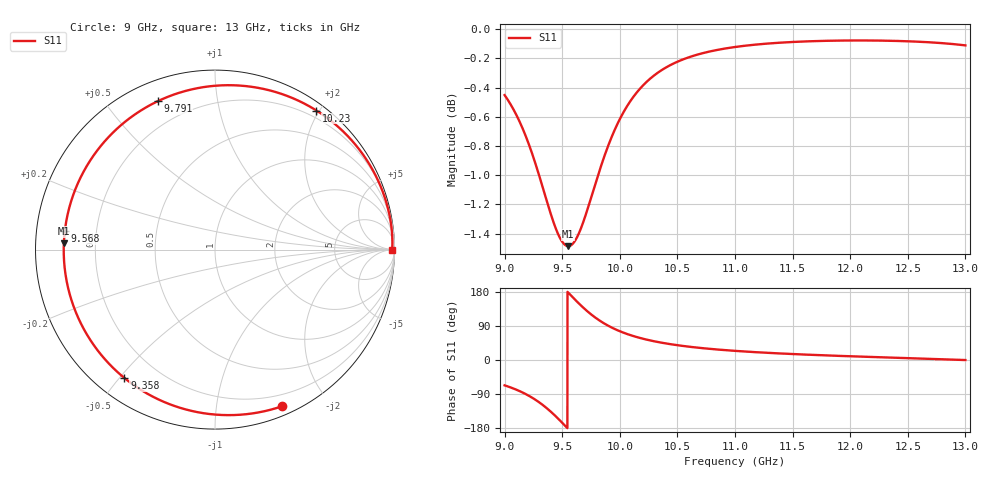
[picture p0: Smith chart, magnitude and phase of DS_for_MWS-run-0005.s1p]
! TOUCHSTONE file generated by CST DESIGN STUDIO
! Date and time: Wed Feb  5 13:34:24 2025
! Project name: C:\Work\MatlabApps\UnitCellOptimizationMatlab\CST\unitcell.cst
! Tree item: Tasks\Sweep1\SPara1\S-Parameters
! Header version: 2024
! Port assignment regex: !\s*Touchstone port\s*([0-9]+)\s*=\s*(CST MWS port|CST DES external port|CST DES block port)\s*(.+)\s* \(\"(.*)\"\)(\s*mode\s*([0-9]+))?.*
! Touchstone port assignment:
! Touchstone port 1 = CST DES external port 1 ("")
# GHz S MA R 50
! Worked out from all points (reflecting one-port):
!   4001 points, 9 GHz to 13 GHz, reference 50 ohm
!   lowest |S11| = -1.5 dB at 9.553 GHz (marker M1), VSWR 11.73, Z = 4.27 + j1.03 ohm
!   phase of S11 starts at -67 deg and turns -293 deg over the sweep
!   S11 on the Smith chart (normalised r, x): 9 GHz: 0.09, -1.51; 9.358 GHz: 0.08, -0.52; 9.568 GHz: 0.09, +0.06; 9.791 GHz: 0.09, +0.68; 10.23 GHz: 0.10, +1.96; 13 GHz: open
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9  0.9493 -66.9
9.037  0.9445 -70.7
9.102  0.9346 -78.3
9.212  0.9129 -94.7
9.289  0.8939 -109.3
9.358  0.8755 -125.2
9.426  0.8586 -143.4
9.464  0.851 -154.5
9.5  0.8458 -165.6
9.553  0.8428 177.6
9.568  0.8431 172.9
9.623  0.848 155.7
9.685  0.8595 137.6
9.737  0.8721 123.8
9.791  0.8861 111.1
9.836  0.8975 101.8
9.884  0.9088 93.0
10  0.9315 75.9
10.109  0.947 64.0
10.231  0.9591 53.9
10.356  0.9677 46.0
10.5  0.9746 39.0
10.721  0.9812 31.1
11  0.9859 24.1
11.5  0.9898 15.7
12  0.991 9.9
12.5  0.9904 4.9
13  0.9872 -0.1
